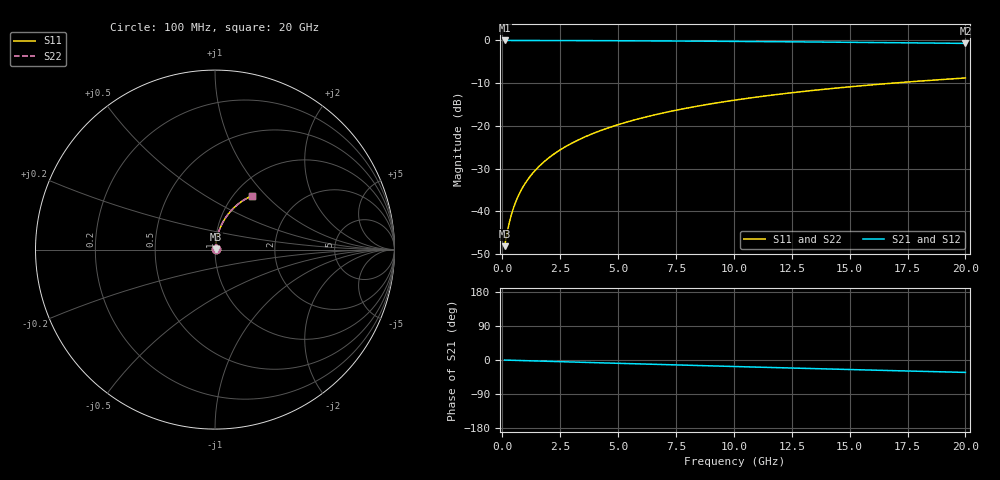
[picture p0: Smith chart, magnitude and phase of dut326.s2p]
! Touchstone file exported from HFSS 2026.1.0
!  File:  C:/ffzhzh/LocalFiles/Ansys_Project_Files/temp_train_TMRDL_326_1783003571_55676.aedt
!  Generated:  10:47:37 PM Jul  2, 2026
!  Design:  TMRDL
!  Project:  temp_train_TMRDL_326_1783003571_55676
! Variables:
!  h_bsmrdl = 2um
!  h_ox = 20um
!  h_rdl = 5um
!  h_sub = 80um
!  h_tmrdl = 3.66um
!  h_tsv = 80um
!  h_via = 3um
!  l_bsmrdl = 300um
!  l_sub = 826.79um
!  l_tmrdl = 426.79um
!  m_sub = 200um
!  pitch = 42.13um
!  r_tsv = 6um
!  s_tmrdl = 10um
!  w_bsmrdl = 18um
!  w_sub = 500um
!  w_tmrdl = 13.17um
!  x_tsv_center1 = 433.375um
!  x_tsv_center2 = 751.375um
!  x_tsv_center3 = 1191.335um
!  x_tsv_center4 = 1509.335um
!  x_tsv_center5 = 1949.295um
!  x_tsv_center6 = 2267.295um
# GHz S MA R 50.000000
! Terminal data exported
! Port[1] = TM_RDL1_1_T1
! Port[2] = TM_RDL1_1_T2
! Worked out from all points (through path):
!   200 points, 100 MHz to 20 GHz, reference 50 ohm
!   highest |S21| = -0.03 dB at 100 MHz (marker M1); lowest = -0.7 dB at 20 GHz (marker M2)
!   group delay of S21, straight-line fit = 4.55 ps
!   lowest |S11| = -48.1 dB at 100 MHz (marker M3), VSWR 1.01, Z = 50.3 + j0.22 ohm
!   |S11| at or under -10 dB: start of sweep to 16.88 GHz
!   |S22| runs from -48.1 to -8.8 dB; largest |S21 - S12| = 2.4e-15
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0.1  0.003919 34.0  0.9968 -0.2  0.9968 -0.2  0.003919 34.0
! Gamma 0 0 0 0
! Port Impedance 50 0 50 0
0.2  0.005484 52.7  0.9967 -0.4  0.9967 -0.4  0.005484 52.7
0.3  0.007351 62.2  0.9966 -0.5  0.9966 -0.5  0.007351 62.2
0.4  0.009317 67.6  0.9965 -0.7  0.9965 -0.7  0.009317 67.6
0.5  0.01132 71.0  0.9964 -0.9  0.9964 -0.9  0.01132 71.0
0.6  0.01334 73.4  0.9963 -1.1  0.9963 -1.1  0.01334 73.4
0.8  0.0174 76.4  0.9962 -1.4  0.9962 -1.4  0.0174 76.4
1.1  0.02354 78.8  0.996 -2.0  0.996 -2.0  0.02354 78.8
1.5  0.03177 80.3  0.9956 -2.7  0.9956 -2.7  0.03177 80.3
1.8  0.03796 80.8  0.9953 -3.2  0.9953 -3.2  0.03796 80.8
2.1  0.04415 81.0  0.995 -3.7  0.995 -3.7  0.04415 81.0
2.7  0.05651 80.9  0.9941 -4.8  0.9941 -4.8  0.05651 80.9
3.5  0.0729 80.2  0.9928 -6.2  0.9928 -6.2  0.0729 80.2
4.2  0.08713 79.4  0.9913 -7.4  0.9913 -7.4  0.08713 79.4
5  0.1032 78.3  0.9894 -8.8  0.9894 -8.8  0.1032 78.3
5.9  0.1211 77.0  0.9869 -10.3  0.9869 -10.3  0.1211 77.0
6.8  0.1388 75.6  0.9841 -11.8  0.9841 -11.8  0.1388 75.6
8.3  0.1676 73.3  0.9789 -14.3  0.9789 -14.3  0.1676 73.3
10.1  0.2011 70.4  0.9718 -17.3  0.9718 -17.3  0.2011 70.4
13.4  0.2594 65.3  0.9567 -22.7  0.9567 -22.7  0.2594 65.3
16.7  0.3134 60.4  0.9397 -27.8  0.9397 -27.8  0.3134 60.4
20  0.3629 55.6  0.9212 -32.8  0.9212 -32.8  0.3629 55.6
